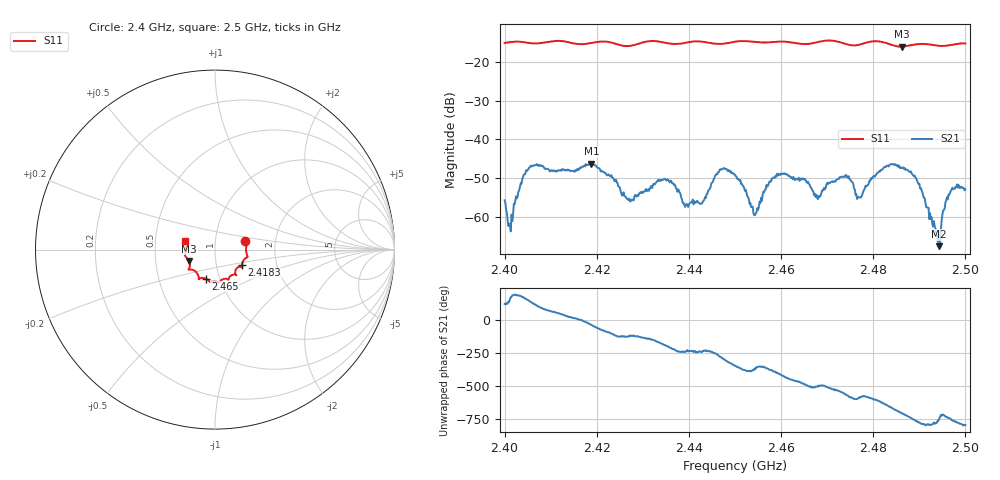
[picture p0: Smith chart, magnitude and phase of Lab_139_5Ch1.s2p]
# Hz S RI R 50
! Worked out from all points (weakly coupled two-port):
!   601 points, 2.4 GHz to 2.5 GHz, reference 50 ohm
!   highest |S21| = -46.32 dB at 2.4188 GHz (marker M1); lowest = -67.6 dB at 2.4943 GHz (marker M2)
!   lowest |S11| = -16.1 dB at 2.4862 GHz (marker M3), VSWR 1.37, Z = 37.2 - j4.83 ohm
!   |S11| at or under -10 dB: start of sweep to end of sweep
!   S12 and S22 are empty: the file has one direction only
!   S11 on the Smith chart (normalised r, x): 2.4 GHz: 1.40, +0.14; 2.4183 GHz: 1.33, -0.24; 2.465 GHz: 0.86, -0.28; 2.5 GHz: 0.71, +0.07
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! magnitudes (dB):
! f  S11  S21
! 2.4 GHz  -15.1  -55.8
! 2.4013 GHz  -14.9  -63.8
! 2.4058 GHz  -15.2  -46.9
! 2.4167 GHz  -15.4  -47.1
! 2.4183 GHz  -15.2  -46.3
! 2.4188 GHz  -15.1  -46.3
! 2.427 GHz  -15.9  -55.3
! 2.4333 GHz  -14.7  -50.5
! 2.4395 GHz  -15.0  -56.7
! 2.45 GHz  -14.8  -49.1
! 2.4545 GHz  -14.9  -59.1
! 2.4587 GHz  -14.8  -49.9
! 2.465 GHz  -15.4  -50.4
! 2.4667 GHz  -15.2  -52.8
! 2.4742 GHz  -15.4  -49.3
! 2.477 GHz  -15.6  -55.0
! 2.4833 GHz  -15.3  -47.0
! 2.4862 GHz  -16.1  -47.4
! 2.4895 GHz  -15.4  -50.6
! 2.4943 GHz  -15.9  -67.6
! 2.4968 GHz  -15.7  -53.3
! 2.5 GHz  -15.2  -52.9
